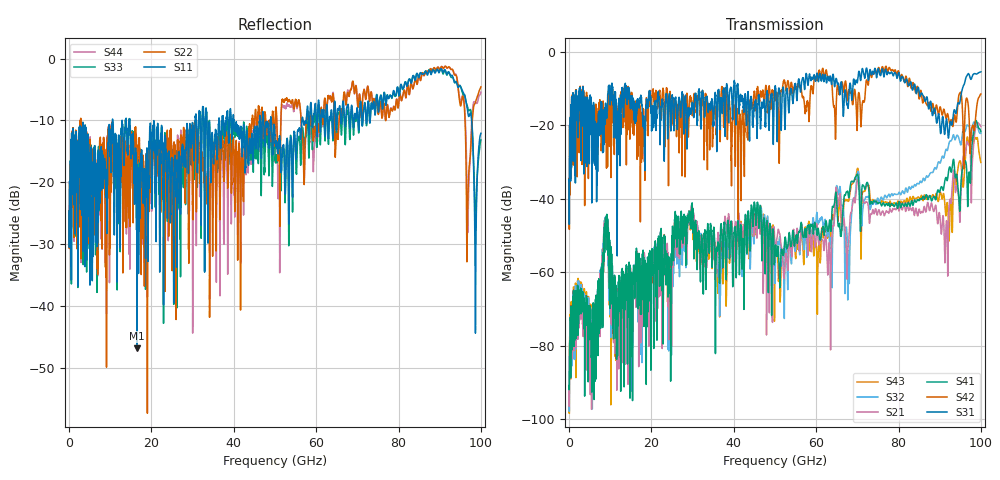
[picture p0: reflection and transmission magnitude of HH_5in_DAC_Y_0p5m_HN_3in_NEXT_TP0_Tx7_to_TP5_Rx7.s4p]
# GHz S RI R 45
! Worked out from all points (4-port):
!   4000 points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, 25 MHz to 100 GHz, reference 45 ohm
!   strongest paths, dB at 25 MHz, 25.02 GHz, 50.02 GHz, 75.03 GHz, 100 GHz:
!     S31: -35.0, -12.1, -9.7, -4.6, -5.5
!     S42: -34.9, -18.5, -12.5, -4.7, -11.5
!     S41: -90.8, -52.0, -53.4, -41.3, -21.7
!     S21: -92.3, -63.5, -55.0, -43.6, -20.4
!     S32: -92.0, -68.4, -63.0, -39.9, -22.2
!     S43: -93.3, -55.4, -55.9, -40.6, -30.1
!   lowest |S11| = -46.9 dB at 16.55 GHz (marker M1), VSWR 1.01, Z = 45.4 + j0.128 ohm
!   |S11| at or under -10 dB: start of sweep to 10.55 GHz; 14.73 GHz to 30.61 GHz (15.88 GHz wide, 70.1 % of centre); 49.07 GHz to 56.54 GHz (7.469 GHz wide, 14.1 % of centre)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
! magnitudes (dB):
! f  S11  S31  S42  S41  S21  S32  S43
! 25 MHz  -24.7  -35.0  -34.9  -90.8  -92.3  -92.0  -93.3
! 5.65 GHz  -35.9  -19.3  -18.1  -75.6  -78.8  -97.2  -85.5
! 8.925 GHz  -18.8  -17.9  -18.8  -46.0  -45.7  -45.5  -46.1
! 11.4 GHz  -12.7  -13.0  -13.2  -72.3  -67.2  -74.7  -72.4
! 16.55 GHz  -46.9  -15.9  -26.0  -56.9  -55.0  -55.5  -56.6
! 91.58 GHz  -2.3  -18.6  -18.2  -34.2  -46.7  -26.5  -44.1
! 100 GHz  -12.1  -5.5  -11.5  -21.7  -20.4  -22.2  -30.1
